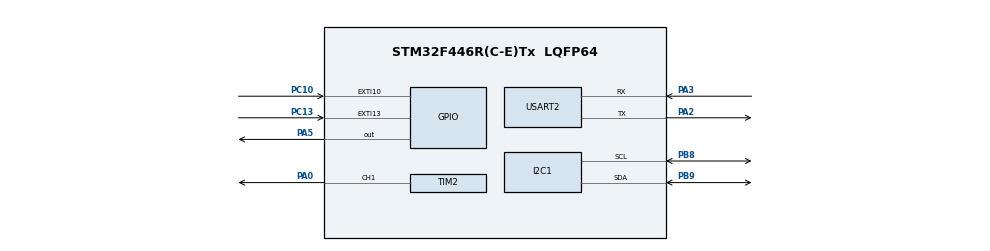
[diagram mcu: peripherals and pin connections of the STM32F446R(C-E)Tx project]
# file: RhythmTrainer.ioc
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I2C1.I2C_Mode=I2C_Fast
Mcu.Family=STM32F4
Mcu.Name=STM32F446R(C-E)Tx
Mcu.Package=LQFP64
NVIC.EXTI15_10_IRQn=true\:0\:0\:false\:false\:true\:true\:true\:true
NVIC.PriorityGroup=NVIC_PRIORITYGROUP_4
PA0-WKUP.Signal=S_TIM2_CH1_ETR
PA2.Mode=Asynchronous
PA2.Signal=USART2_TX
PA3.Mode=Asynchronous
PA3.Signal=USART2_RX
PA5.Signal=GPIO_Output
PB8.Mode=I2C
PB8.Signal=I2C1_SCL
PB9.Mode=I2C
PB9.Signal=I2C1_SDA
PC10.GPIO_ModeDefaultEXTI=GPIO_MODE_IT_RISING_FALLING
PC10.GPIO_PuPd=GPIO_PULLUP
PC10.Signal=GPXTI10
PC13.Signal=GPXTI13
ProjectManager.HeapSize=0x200
ProjectManager.StackSize=0x400
ProjectManager.TargetToolchain=STM32CubeIDE
RCC.CortexFreq_Value=16000000
RCC.USBFreq_Value=96000000
RCC.VCOOutputFreq_Value=192000000
SH.S_TIM2_CH1_ETR.0=TIM2_CH1,PWM Generation1 CH1
TIM2.Channel-PWM\ Generation1\ CH1=TIM_CHANNEL_1
TIM2.Period=999
TIM2.Prescaler=83
USART2.VirtualMode=VM_ASYNC
VP_TIM2_VS_ClockSourceINT.Mode=Internal
board=custom

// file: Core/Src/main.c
/* USER CODE BEGIN Header */
/**
  ******************************************************************************
  * @file           : main.c
  * @brief          : Main program body
  ******************************************************************************
  * @attention
  *
  * Copyright (c) 2026 STMicroelectronics.
  * All rights reserved.
  *
  * This software is licensed under terms that can be found in the LICENSE file
  * in the root directory of this software component.
  * If no LICENSE file comes with this software, it is provided AS-IS.
  *
  ******************************************************************************
  */
/* USER CODE END Header */
#include "main.h"

/* USER CODE BEGIN Includes */
#include "fonts.h"
#include "ssd1306.h"
#include <stdio.h>
#include <stdlib.h>
#include <string.h>
#include <stdbool.h>
/* USER CODE END Includes */

I2C_HandleTypeDef hi2c1;

TIM_HandleTypeDef htim2;

UART_HandleTypeDef huart2;

/* USER CODE BEGIN PV */

volatile uint8_t button_pressed_event = 0;
volatile uint8_t button_released_event = 0;
volatile uint8_t mode_button_event = 0;

volatile uint8_t tap_answer_count = 0;

volatile uint32_t button_press_time = 0;
volatile uint32_t button_release_time = 0;

int beat_count = -1;
int current_bpm = 0;

typedef enum
{
	STATE_WELCOME,     //시작 화면
	STATE_TAP_TEMPO,	//버튼 입력
	STATE_METRONOME,	//메트로놈 재생
	STATE_RHYTHM_PATTERN, //리듬 패턴 출력
	STATE_RHYTHM_INPUT, // 리듬 패턴 입력
	STATE_RESULT	//리듬 훈련 결과 표시
} SystemState;

SystemState current_state = STATE_WELCOME;

#define RHYTHM_SIZE 8

uint8_t rhythm_pattern[RHYTHM_SIZE];

uint8_t pattern_index = 0;

uint32_t rhythm_interval = 0;
uint32_t last_rhythm_time = 0;

/* USER CODE END PV */

void SystemClock_Config(void);
static void MX_GPIO_Init(void);
static void MX_I2C1_Init(void);
static void MX_TIM2_Init(void);
static void MX_USART2_UART_Init(void);
/* USER CODE BEGIN PFP */
void Beep(uint32_t ms);
void Display_Metronome_Status(uint32_t bpm, int beat);
/* USER CODE END PFP */

/* USER CODE BEGIN 0 */

void HAL_GPIO_EXTI_Callback(uint16_t GPIO_Pin)
{
    static uint32_t last_interrupt_time = 0;
    uint32_t current_time = HAL_GetTick();

    if (GPIO_Pin == GPIO_PIN_10)
    {
    	uint32_t current_time = HAL_GetTick();

		// 마지막 인터럽트로부터 30ms 이내라면 bouncing으로 판단
		if (current_time - last_interrupt_time < 50)
		{
			return;
		}

		// 정상적인 edge로 인정
		last_interrupt_time = current_time;

		if (HAL_GPIO_ReadPin(GPIOC, GPIO_PIN_10) == GPIO_PIN_RESET)
		{
			// 버튼 누름
			button_press_time = current_time;
			button_pressed_event = 1;
		}
		else
		{
			// 버튼 뗌
			button_release_time = current_time;
			button_released_event = 1;
		}
    }

    else if (GPIO_Pin == GPIO_PIN_13)
    {
        mode_button_event = 1;
    }
}

void Display_OLED() {
	  HAL_TIM_PWM_Start(&htim2, TIM_CHANNEL_1);
	  SSD1306_Init();
	  SSD1306_GotoXY (0,0);
	  SSD1306_Puts ("-------------------", &Font_7x10, 1);
	  SSD1306_GotoXY (39, 18);
	  SSD1306_Puts ("WELCOME", &Font_7x10, 1);
	  SSD1306_GotoXY (57, 30);
	  SSD1306_Puts ("TO", &Font_7x10, 1);
	  SSD1306_GotoXY (43, 42);
	  SSD1306_Puts ("STempo", &Font_7x10, 1);
	  SSD1306_GotoXY (0, 53);
	  SSD1306_Puts ("------------------", &Font_7x10, 1);
	  SSD1306_UpdateScreen();
	  HAL_Delay (1000);
	  SSD1306_ScrollRight(0,7);
	  HAL_Delay(3000);
	  SSD1306_ScrollLeft(0,7);
	  HAL_Delay(3000);
	  SSD1306_Stopscroll();
	  SSD1306_Clear();

	  SSD1306_GotoXY (25,20);
	  SSD1306_Puts ("Are you", &Font_11x18, 1);
	  SSD1306_GotoXY (31,40);
	  SSD1306_Puts ("ready?", &Font_11x18, 1);
	  SSD1306_UpdateScreen();
	  HAL_Delay (100);
	  SSD1306_Clear();

	  SSD1306_GotoXY (7,27);
	  SSD1306_Puts ("SHOW YOUR TEMPO!", &Font_7x10, 1);
	  SSD1306_UpdateScreen();
	  HAL_Delay (200);
	  SSD1306_Clear();
}

void Generate_Rhythm_Pattern(void)
{
	tap_answer_count = 0;
    // 첫 번째 박은 항상 소리가 나도록 함
    rhythm_pattern[0] = 1;
    tap_answer_count++;

    // 나머지 7칸 랜덤 생성
    for (int i = 1; i < RHYTHM_SIZE; i++)
    {
        rhythm_pattern[i] = rand() % 2;
        if (rhythm_pattern[i]==1) {
        	tap_answer_count++;
        }
    }
}
/* USER CODE END 0 */

int main(void)
{

  /* MCU Configuration--------------------------------------------------------*/

  /* Reset of all peripherals, Initializes the Flash interface and the Systick. */
  HAL_Init();

  /* Configure the system clock */
  SystemClock_Config();

  /* Initialize all configured peripherals */
  MX_GPIO_Init();
  MX_I2C1_Init();
  MX_TIM2_Init();
  MX_USART2_UART_Init();
  /* USER CODE BEGIN 2 */
  Display_OLED(); //전원이 켜진 후 시작 화면 출력

  current_state = STATE_TAP_TEMPO;  //메트로놈 모드 진입, 템포 입력

  /* USER CODE END 2 */

  /* Infinite loop */
  /* USER CODE BEGIN WHILE */

  static uint32_t last_tap_time = 0;
  static uint32_t diff = 0;
  static int count = 0;

  static uint32_t avg_interval = 0;
  static uint32_t last_beep_time = 0;
  static uint32_t last_tap_index = 0;
  static uint32_t answer_interval = 0;
  static uint32_t user_interval = 0;

  static uint8_t button_is_pressed = 0;
  static uint8_t long_press_triggered = 0;
  static uint8_t rhythm_pattern_started = 0;

  uint32_t rhythm_state_enter_time = 0;
  uint8_t rhythm_waiting = 1;

  static uint32_t first_input_time = 0;
  uint32_t user_tap_time[8];
  int user_tap_count = 0;

  uint8_t answer_count = 0;
  static bool result_processed = false;

  uint32_t total_abs_error = 0;
  int32_t total_signed_error = 0;
  uint8_t evaluated_taps = 0;

  while (1)
  {
    /* USER CODE END WHILE */

    /* USER CODE BEGIN 3 */
	  switch (current_state) {

	  case STATE_WELCOME:
		  Display_OLED();
		  current_state = STATE_TAP_TEMPO;
		  break;

	  case STATE_TAP_TEMPO:
		  // 버튼이 눌렸을 때
		  if (button_pressed_event)
		  {

			  button_pressed_event = 0;

			  button_is_pressed = 1;
			  long_press_triggered = 0;
		  }

		  // Long Press 인지 확인

		  if (button_is_pressed &&
			  long_press_triggered == 0 &&
			  (HAL_GetTick() - button_press_time >= 1000))
		  {
			  // 메트로놈 상태 초기화

			  count = 0;
			  diff = 0;

			  avg_interval = 0;
			  last_tap_time = 0;

			  beat_count = -1;
			  current_bpm = 0;

			  long_press_triggered = 1;

			  // 초기화 되었다는 것을 소리&화면으로 알림.
			  Beep(300);

			  Display_Metronome_Status(0, -1);
		  }

		  // 버튼에서 손을 뗐을 때

		  if (button_released_event)
		  {
			  button_released_event = 0;

			  button_is_pressed = 0;

			  // Long Press가 아닐 경우
			  if (long_press_triggered == 0)
			  {
				  // 첫 번째 Tap
				  if (count == 0)
				  {

					  last_tap_time = button_press_time;

					  count = 1;

					  Beep(50);
				  }

				  // 2번째 ~ 4번째 Tap
				  else if (count > 0 && count < 4)
				  {
					  diff += (button_press_time - last_tap_time);

					  last_tap_time = button_press_time;

					  count++;

					  Beep(50);
				  }

				  // 4번의 Tap이 감지된 후 BPM 계산
				  if (count == 4)
				  {
					  avg_interval = diff / 3;

					  //0으로 나누는 상황 방지
					  if (avg_interval > 0)
					  {
						  current_bpm = 60000 / avg_interval;

						  beat_count = -1;

						  last_beep_time = HAL_GetTick();

						  current_state = STATE_METRONOME;

						  Display_Metronome_Status(
							  current_bpm,
							  beat_count
						  );
					  }

					  // 초기화
					  count = 0;
					  diff = 0;
					  last_tap_time = 0;
				  }
			  }

			  // Long Press 초기화
			  long_press_triggered = 0;
		  }

		  break;

	  case STATE_METRONOME:

	      // 버튼 눌림 이벤트 처리
	      if (button_pressed_event)
	      {
	          button_pressed_event = 0;

	          button_is_pressed = 1;
	          long_press_triggered = 0;
	      }

	      // 버튼 뗌 이벤트 처리
	      if (button_released_event)
	      {
	          button_released_event = 0;

	          button_is_pressed = 0;
	          long_press_triggered = 0;
	      }

	      // 메트로놈 재생
	      if (avg_interval > 0)
	      {
	          if (HAL_GetTick() - last_beep_time >= avg_interval)
	          {
	              last_beep_time = HAL_GetTick();

	              beat_count = (beat_count + 1) % 4;

	              Display_Metronome_Status(
	                  current_bpm,
	                  beat_count
	              );

	              Beep(32);
	          }
	      }

	      // 1초 이상 Long Press → Tap Tempo로 돌아가기
	      if (button_is_pressed &&
	          long_press_triggered == 0 &&
	          (HAL_GetTick() - button_press_time >= 1000))
	      {
	          count = 0;
	          diff = 0;

	          avg_interval = 0;
	          last_tap_time = 0;

	          beat_count = -1;
	          current_bpm = 0;

	          long_press_triggered = 1;

	          current_state = STATE_TAP_TEMPO;

	          Beep(300);
	          Display_Metronome_Status(0, -1);
	      }

	      if (mode_button_event)
	      {
	          mode_button_event = 0;
	          srand(HAL_GetTick());

	          Generate_Rhythm_Pattern();

	          rhythm_interval = avg_interval / 2;
	          last_rhythm_time = HAL_GetTick();

	          rhythm_state_enter_time = HAL_GetTick();
	          rhythm_waiting = 1;
	          pattern_index = 0;

	          current_state = STATE_RHYTHM_PATTERN;
	      }

	      break;

	  case STATE_RHYTHM_PATTERN:

		  mode_button_event = 0;

		  // 이 상태에 처음 들어왔을 때 한 번만 화면 출력
		  if (rhythm_pattern_started == 0)
		  {
			  SSD1306_Clear();

			  SSD1306_GotoXY(36, 11);
			  SSD1306_Puts("Remember", &Font_7x10, 1);

			  SSD1306_GotoXY(22, 43);
			  SSD1306_Puts("this pattern", &Font_7x10, 1);

			  SSD1306_UpdateScreen();

			  rhythm_pattern_started = 1;

			  rhythm_state_enter_time = HAL_GetTick();
			  rhythm_waiting = 1;
		  }

	      // 상태 진입 후 1.5초 동안은 패턴 출력하지 않음
	      if (rhythm_waiting)
	      {
	          if (HAL_GetTick() - rhythm_state_enter_time >= 1500)
	          {
	              rhythm_waiting = 0;

	              // 지금부터 리듬 타이밍 시작
	              last_rhythm_time = HAL_GetTick();
	          }

	          break;
	      }

	      // 1.5초가 지난 뒤부터 패턴 출력
	      if (HAL_GetTick() - last_rhythm_time >= rhythm_interval)
	      {
	          last_rhythm_time += rhythm_interval;

	          if (rhythm_pattern[pattern_index] == 1)
	          {
	              Beep(30);
	          }

	          pattern_index++;

	          if (pattern_index >= RHYTHM_SIZE)
	          {
	              pattern_index = 0;

	              button_pressed_event = 0;
	              button_released_event = 0;

	              user_tap_count = 0;

	              current_state = STATE_RHYTHM_INPUT;
	          }
	      }

	      break;

	  case STATE_RHYTHM_INPUT:

		  mode_button_event = 0;

	      if (button_pressed_event)
	      {
	          button_pressed_event = 0;

	          Beep(30);

	          // 첫 번째 입력
	          if (user_tap_count == 0)
	          {
	              first_input_time = button_press_time;

	              user_tap_time[0] = 0;

	              user_tap_count = 1;
	          }

	          // 두 번째 이후 입력
	          else if (user_tap_count < tap_answer_count)
	          {
	              user_tap_time[user_tap_count] =
	                  button_press_time - first_input_time;

	              user_tap_count++;
	          }
	      }

	      // 필요한 횟수만큼 입력했다면 결과 상태로
	      if (user_tap_count >= tap_answer_count)
	      {
	    	  user_tap_count = 0;
	    	  button_pressed_event = 0;
	    	  button_released_event = 0;

	    	  mode_button_event = 0;

	          current_state = STATE_RESULT;
	      }

	      break;

	  case STATE_RESULT:

	      if (result_processed == false)
	      {
	          answer_count = 0;
	          user_tap_count = 0;

	          uint32_t total_abs_error = 0;
	          int32_t total_signed_error = 0;
	          uint8_t evaluated_taps = 0;

	          for (int i = 0; i < RHYTHM_SIZE; i++)
	          {
	              if (rhythm_pattern[i] == 1)
	              {
	                  answer_interval = rhythm_interval * i;

	                  user_interval =
	                      user_tap_time[user_tap_count];

	                  user_tap_count++;

	                  //음수: 빠름 , 양수: 느림
	                  int32_t timing_error =
	                      (int32_t)user_interval -
	                      (int32_t)answer_interval;

	                  uint32_t abs_error;

	                  if (timing_error < 0)
	                      abs_error = (uint32_t)(-timing_error);
	                  else
	                      abs_error = (uint32_t)timing_error;

	                  if (abs_error <= 100)
	                  {
	                      answer_count++;
	                  }

	                  // 첫번째 Tap은 기준점이라 항상 error = 0이므로 분석 X
	                  if (i != 0)
	                  {
	                      //Accuracy가 음수가 되지 않도록 함.
	                      uint32_t error_for_score = abs_error;

	                      if (error_for_score > rhythm_interval)
	                      {
	                          error_for_score = rhythm_interval;
	                      }

	                      total_abs_error += error_for_score;
	                      total_signed_error += timing_error;

	                      evaluated_taps++;
	                  }
	              }
	          }

	          //Accuracy 및 Time bias 계산

	          if (evaluated_taps > 0 && rhythm_interval > 0)
	          {

	              uint32_t denominator =
	                  (uint32_t)evaluated_taps * rhythm_interval;

	              int32_t accuracy_x10 =
	                  1000 -
	                  (int32_t)(
	                      ((uint64_t)total_abs_error * 1000)
	                      / denominator
	                  );

	              if (accuracy_x10 < 0)
	                  accuracy_x10 = 0;

	              int32_t timing_bias =
	                  total_signed_error / evaluated_taps;

	              // UART 전송

	              char uart_buf[64];

	              sprintf(
	                  uart_buf,
	                  "SESSION,%ld,%ld\r\n",
	                  accuracy_x10,
	                  timing_bias
	              );

	              HAL_UART_Transmit(
	                  &huart2,
	                  (uint8_t *)uart_buf,
	                  strlen(uart_buf),
	                  HAL_MAX_DELAY
	              );
	          }

	          //OLED 결과 표시

	          SSD1306_Clear();

	          if (tap_answer_count - answer_count == 0)
	          {
	              SSD1306_GotoXY(36, 27);
	              SSD1306_Puts(
	                  "Perfect!",
	                  &Font_7x10,
	                  1
	              );
	          }
	          else if (tap_answer_count - answer_count == 1)
	          {
	              SSD1306_GotoXY(50, 27);
	              SSD1306_Puts(
	                  "Good",
	                  &Font_7x10,
	                  1
	              );
	          }
	          else
	          {
	              SSD1306_GotoXY(32, 27);
	              SSD1306_Puts(
	                  "Try Again",
	                  &Font_7x10,
	                  1
	              );
	          }

	          SSD1306_UpdateScreen();

	          result_processed = true;
	      }

	      //Mode 버튼 -> 다음 문제
	      if (mode_button_event)
	      {
	          mode_button_event = 0;

	          result_processed = false;
	          answer_count = 0;
	          user_tap_count = 0;

	          Generate_Rhythm_Pattern();

	          rhythm_interval = avg_interval / 2;

	          rhythm_state_enter_time = HAL_GetTick();

	          rhythm_waiting = 1;
	          rhythm_pattern_started = 0;
	          pattern_index = 0;

	          button_pressed_event = 0;
	          button_released_event = 0;

	          current_state = STATE_RHYTHM_PATTERN;
	      }

	      break;
	}

  }
  /* USER CODE END 3 */
}

void SystemClock_Config(void)
{
  RCC_OscInitTypeDef RCC_OscInitStruct = {0};
  RCC_ClkInitTypeDef RCC_ClkInitStruct = {0};

  /** Configure the main internal regulator output voltage
  */
  __HAL_RCC_PWR_CLK_ENABLE();
  __HAL_PWR_VOLTAGESCALING_CONFIG(PWR_REGULATOR_VOLTAGE_SCALE3);

  /** Initializes the RCC Oscillators according to the specified parameters
  * in the RCC_OscInitTypeDef structure.
  */
  RCC_OscInitStruct.OscillatorType = RCC_OSCILLATORTYPE_HSI;
  RCC_OscInitStruct.HSIState = RCC_HSI_ON;
  RCC_OscInitStruct.HSICalibrationValue = RCC_HSICALIBRATION_DEFAULT;
  RCC_OscInitStruct.PLL.PLLState = RCC_PLL_NONE;
  if (HAL_RCC_OscConfig(&RCC_OscInitStruct) != HAL_OK)
  {
    Error_Handler();
  }

  /** Initializes the CPU, AHB and APB buses clocks
  */
  RCC_ClkInitStruct.ClockType = RCC_CLOCKTYPE_HCLK|RCC_CLOCKTYPE_SYSCLK
                              |RCC_CLOCKTYPE_PCLK1|RCC_CLOCKTYPE_PCLK2;
  RCC_ClkInitStruct.SYSCLKSource = RCC_SYSCLKSOURCE_HSI;
  RCC_ClkInitStruct.AHBCLKDivider = RCC_SYSCLK_DIV1;
  RCC_ClkInitStruct.APB1CLKDivider = RCC_HCLK_DIV1;
  RCC_ClkInitStruct.APB2CLKDivider = RCC_HCLK_DIV1;

  if (HAL_RCC_ClockConfig(&RCC_ClkInitStruct, FLASH_LATENCY_0) != HAL_OK)
  {
    Error_Handler();
  }
}

static void MX_I2C1_Init(void)
{

  hi2c1.Instance = I2C1;
  hi2c1.Init.ClockSpeed = 400000;
  hi2c1.Init.DutyCycle = I2C_DUTYCYCLE_2;
  hi2c1.Init.OwnAddress1 = 0;
  hi2c1.Init.AddressingMode = I2C_ADDRESSINGMODE_7BIT;
  hi2c1.Init.DualAddressMode = I2C_DUALADDRESS_DISABLE;
  hi2c1.Init.OwnAddress2 = 0;
  hi2c1.Init.GeneralCallMode = I2C_GENERALCALL_DISABLE;
  hi2c1.Init.NoStretchMode = I2C_NOSTRETCH_DISABLE;
  if (HAL_I2C_Init(&hi2c1) != HAL_OK)
  {
    Error_Handler();
  }

}

static void MX_TIM2_Init(void)
{

  TIM_ClockConfigTypeDef sClockSourceConfig = {0};
  TIM_MasterConfigTypeDef sMasterConfig = {0};
  TIM_OC_InitTypeDef sConfigOC = {0};

  htim2.Instance = TIM2;
  htim2.Init.Prescaler = 83;
  htim2.Init.CounterMode = TIM_COUNTERMODE_UP;
  htim2.Init.Period = 999;
  htim2.Init.ClockDivision = TIM_CLOCKDIVISION_DIV1;
  htim2.Init.AutoReloadPreload = TIM_AUTORELOAD_PRELOAD_DISABLE;
  if (HAL_TIM_Base_Init(&htim2) != HAL_OK)
  {
    Error_Handler();
  }
  sClockSourceConfig.ClockSource = TIM_CLOCKSOURCE_INTERNAL;
  if (HAL_TIM_ConfigClockSource(&htim2, &sClockSourceConfig) != HAL_OK)
  {
    Error_Handler();
  }
  if (HAL_TIM_PWM_Init(&htim2) != HAL_OK)
  {
    Error_Handler();
  }
  sMasterConfig.MasterOutputTrigger = TIM_TRGO_RESET;
  sMasterConfig.MasterSlaveMode = TIM_MASTERSLAVEMODE_DISABLE;
  if (HAL_TIMEx_MasterConfigSynchronization(&htim2, &sMasterConfig) != HAL_OK)
  {
    Error_Handler();
  }
  sConfigOC.OCMode = TIM_OCMODE_PWM1;
  sConfigOC.Pulse = 0;
  sConfigOC.OCPolarity = TIM_OCPOLARITY_HIGH;
  sConfigOC.OCFastMode = TIM_OCFAST_DISABLE;
  if (HAL_TIM_PWM_ConfigChannel(&htim2, &sConfigOC, TIM_CHANNEL_1) != HAL_OK)
  {
    Error_Handler();
  }
  HAL_TIM_MspPostInit(&htim2);

}

static void MX_USART2_UART_Init(void)
{

  huart2.Instance = USART2;
  huart2.Init.BaudRate = 115200;
  huart2.Init.WordLength = UART_WORDLENGTH_8B;
  huart2.Init.StopBits = UART_STOPBITS_1;
  huart2.Init.Parity = UART_PARITY_NONE;
  huart2.Init.Mode = UART_MODE_TX_RX;
  huart2.Init.HwFlowCtl = UART_HWCONTROL_NONE;
  huart2.Init.OverSampling = UART_OVERSAMPLING_16;
  if (HAL_UART_Init(&huart2) != HAL_OK)
  {
    Error_Handler();
  }

}

static void MX_GPIO_Init(void)
{
  GPIO_InitTypeDef GPIO_InitStruct = {0};

  /* GPIO Ports Clock Enable */
  __HAL_RCC_GPIOC_CLK_ENABLE();
  __HAL_RCC_GPIOA_CLK_ENABLE();
  __HAL_RCC_GPIOB_CLK_ENABLE();

  /*Configure GPIO pin Output Level */
  HAL_GPIO_WritePin(GPIOA, GPIO_PIN_5, GPIO_PIN_RESET);

  /*Configure GPIO pin : PC13 */
  GPIO_InitStruct.Pin = GPIO_PIN_13;
  GPIO_InitStruct.Mode = GPIO_MODE_IT_RISING;
  GPIO_InitStruct.Pull = GPIO_NOPULL;
  HAL_GPIO_Init(GPIOC, &GPIO_InitStruct);

  /*Configure GPIO pin : PA5 */
  GPIO_InitStruct.Pin = GPIO_PIN_5;
  GPIO_InitStruct.Mode = GPIO_MODE_OUTPUT_PP;
  GPIO_InitStruct.Pull = GPIO_NOPULL;
  GPIO_InitStruct.Speed = GPIO_SPEED_FREQ_LOW;
  HAL_GPIO_Init(GPIOA, &GPIO_InitStruct);

  /*Configure GPIO pin : PC10 */
  GPIO_InitStruct.Pin = GPIO_PIN_10;
  GPIO_InitStruct.Mode = GPIO_MODE_IT_RISING_FALLING;
  GPIO_InitStruct.Pull = GPIO_PULLUP;
  HAL_GPIO_Init(GPIOC, &GPIO_InitStruct);

  /* EXTI interrupt init*/
  HAL_NVIC_SetPriority(EXTI15_10_IRQn, 0, 0);
  HAL_NVIC_EnableIRQ(EXTI15_10_IRQn);

}

/* USER CODE BEGIN 4 */
void Beep(uint32_t ms)
{
    __HAL_TIM_SET_COMPARE(&htim2, TIM_CHANNEL_1, 500);

    HAL_Delay(ms);

    __HAL_TIM_SET_COMPARE(&htim2, TIM_CHANNEL_1, 0);
}

void Display_Metronome_Status(uint32_t bpm, int beat)
{
    // 박자 상태 문자열
	char oled_beat_buf[20];
	char oled_bpm_buf[20];

    if (beat == 0)      strcpy(oled_beat_buf, "O  -  -  -");
    else if (beat == 1) strcpy(oled_beat_buf, "-  O  -  -");
    else if (beat == 2) strcpy(oled_beat_buf, "-  -  O  -");
    else if (beat == 3) strcpy(oled_beat_buf, "-  -  -  O");
    else                strcpy(oled_beat_buf, "-  -  -  -"); // 정지 상태 등

    // BPM 문자열
    if (bpm == 0) sprintf(oled_bpm_buf, "BPM: --");
    else          sprintf(oled_bpm_buf, "BPM: %lu", bpm);

    // OLED 출력
    // SSD1306_Clear(); // 화면 전체 지우기

    SSD1306_GotoXY(7, 5);
    SSD1306_Puts("SHOW YOUR TEMPO!", &Font_7x10, 1);

    SSD1306_GotoXY(10, 22);
    SSD1306_Puts(oled_bpm_buf, &Font_11x18, 1);

    SSD1306_GotoXY(15, 45);
    SSD1306_Puts(oled_beat_buf, &Font_11x18, 1);

    SSD1306_UpdateScreen();
}
/* USER CODE END 4 */

void Error_Handler(void)
{
  __disable_irq();
  while (1)
  {
  }
}
